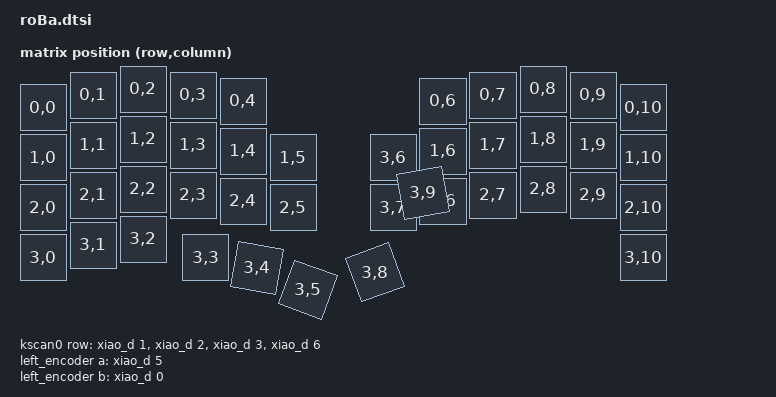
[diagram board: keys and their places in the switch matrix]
#include <dt-bindings/zmk/matrix_transform.h>
#include <physical_layouts.dtsi>

/ {
    chosen {
        zmk,physical-layout = &roba_physical_layout;
    };

    roba_physical_layout: roba_physical_layout {
        compatible = "zmk,physical-layout";
        display-name = "Default";
        transform = <&default_transform>;
        kscan = <&kscan0>;

        keys  //                     w   h    x    y     rot    rx    ry
            = <&key_physical_attrs 100 100    0   37       0     0     0>
            , <&key_physical_attrs 100 100  100   12       0     0     0>
            , <&key_physical_attrs 100 100  200    0       0     0     0>
            , <&key_physical_attrs 100 100  300   12       0     0     0>
            , <&key_physical_attrs 100 100  400   24       0     0     0>

            , <&key_physical_attrs 100 100  800   24       0     0     0>
            , <&key_physical_attrs 100 100  900   12       0     0     0>
            , <&key_physical_attrs 100 100 1000    0       0     0     0>
            , <&key_physical_attrs 100 100 1100   12       0     0     0>
            , <&key_physical_attrs 100 100 1200   37       0     0     0>

            , <&key_physical_attrs 100 100    0  137       0     0     0>
            , <&key_physical_attrs 100 100  100  112       0     0     0>
            , <&key_physical_attrs 100 100  200  100       0     0     0>
            , <&key_physical_attrs 100 100  300  112       0     0     0>
            , <&key_physical_attrs 100 100  400  124       0     0     0>
            , <&key_physical_attrs 100 100  500  137       0     0     0>

            , <&key_physical_attrs 100 100  700  137       0     0     0>
            , <&key_physical_attrs 100 100  800  124       0     0     0>
            , <&key_physical_attrs 100 100  900  112       0     0     0>
            , <&key_physical_attrs 100 100 1000  100       0     0     0>
            , <&key_physical_attrs 100 100 1100  112       0     0     0>
            , <&key_physical_attrs 100 100 1200  137       0     0     0>

            , <&key_physical_attrs 100 100    0  237       0     0     0>
            , <&key_physical_attrs 100 100  100  212       0     0     0>
            , <&key_physical_attrs 100 100  200  200       0     0     0>
            , <&key_physical_attrs 100 100  300  212       0     0     0>
            , <&key_physical_attrs 100 100  400  224       0     0     0>
            , <&key_physical_attrs 100 100  500  237       0     0     0>

            , <&key_physical_attrs 100 100  700  237       0     0     0>
            , <&key_physical_attrs 100 100  800  224       0     0     0>
            , <&key_physical_attrs 100 100  900  212       0     0     0>
            , <&key_physical_attrs 100 100 1000  200       0     0     0>
            , <&key_physical_attrs 100 100 1100  212       0     0     0>
            , <&key_physical_attrs 100 100 1200  237       0     0     0>

            , <&key_physical_attrs 100 100    0  337       0     0     0>
            , <&key_physical_attrs 100 100  100  312       0     0     0>
            , <&key_physical_attrs 100 100  200  300       0     0     0>
            , <&key_physical_attrs 100 100  325  337       0     0     0>
            , <&key_physical_attrs 100 100  437  350    1000   437   350>
            , <&key_physical_attrs 100 100  550  387    2000   550   387>



            , <&key_physical_attrs 100 100  650  387 (-2000)   650   387>
            , <&key_physical_attrs 100 100  763  350 (-1000)     0   350>

            , <&key_physical_attrs 100 100 1200  337       0     0     0>

            ;
    };

    default_transform: keymap_transform_0 {
        compatible = "zmk,matrix-transform";
        columns = <11>;
        rows = <4>;
        map = <
            RC(0,0) RC(0,1) RC(0,2) RC(0,3) RC(0,4)                     RC(0,6) RC(0,7) RC(0,8) RC(0,9) RC(0,10)
            RC(1,0) RC(1,1) RC(1,2) RC(1,3) RC(1,4) RC(1,5)     RC(3,6) RC(1,6) RC(1,7) RC(1,8) RC(1,9) RC(1,10)
            RC(2,0) RC(2,1) RC(2,2) RC(2,3) RC(2,4) RC(2,5)     RC(3,7) RC(2,6) RC(2,7) RC(2,8) RC(2,9) RC(2,10)
            RC(3,0) RC(3,1) RC(3,2) RC(3,3) RC(3,4) RC(3,5)     RC(3,8) RC(3,9)                         RC(3,10)
        >;
    };

    kscan0: kscan {
        compatible = "zmk,kscan-gpio-matrix";
        label = "KSCAN";
        diode-direction = "col2row";
            row-gpios
                = <&xiao_d 1 (GPIO_ACTIVE_HIGH | GPIO_PULL_DOWN)>
                , <&xiao_d 2 (GPIO_ACTIVE_HIGH | GPIO_PULL_DOWN)>
                , <&xiao_d 3 (GPIO_ACTIVE_HIGH | GPIO_PULL_DOWN)>
                , <&xiao_d 6 (GPIO_ACTIVE_HIGH | GPIO_PULL_DOWN)>
                ;
    };

    left_encoder: encoder_left {
        compatible = "alps,ec11";
        a-gpios = <&xiao_d 5 (GPIO_ACTIVE_HIGH | GPIO_PULL_UP)>;
        b-gpios = <&xiao_d 0 (GPIO_ACTIVE_HIGH | GPIO_PULL_UP)>;
        steps = <12>;
        status = "disabled";
    };

    right_encoder: encoder_right {
        status = "disabled";
    };

    sensors: sensors {
        compatible = "zmk,keymap-sensors";
        sensors = <&left_encoder &right_encoder>;
        triggers-per-rotation = <3>;
    };

    trackball_listener: trackball_listener {
        compatible = "zmk,input-listener";
        status = "disabled";
    };
};

&spi0 {
    status = "disabled";

    trackball: trackball@0 {
        status = "disabled";
        reg = <0>;
    };
};

// --- GUI(keymap-editor)に消されないカスタム定義 -----------------------------
// keymap-editor は hold-tap や one-param マクロを理解できず削除してしまうため、
// GUIが管理する config/roBa.keymap ではなく、ここ(roBa.dtsi)に定義する。
// keymap 側は参照(&shift_esc_eisu LEFT_SHIFT 0)だけ残せば解決される。
//
// 注意: keys.h は上の matrix transform で使う RC(row,col) マクロと衝突する
// (keys.h 内では RC = 右Ctrl で引数1個)。そのため RC 使用箇所より「後」、
// かつ #undef RC してから include することで衝突を避ける。
#undef RC
#include <dt-bindings/zmk/keys.h>

#ifndef MACRO_PLACEHOLDER
#define MACRO_PLACEHOLDER 0
#endif

#define MOUSE_LAYER 4

/ {
    macros {
        // MOUSEレイヤーを明示的にOFFにする。
        exit_aml: exit_aml {
            compatible = "zmk,behavior-macro";
            #binding-cells = <0>;
            wait-ms = <0>;
            tap-ms = <0>;
            bindings = <&tog_off MOUSE_LAYER>;
            label = "EXIT_AML";
        };

        // Mod-Tapのタップ側で、キー入力後にMOUSEレイヤーを解除する。
        kp_exit_aml: kp_exit_aml {
            compatible = "zmk,behavior-macro-one-param";
            #binding-cells = <1>;
            wait-ms = <0>;
            tap-ms = <0>;
            bindings = <&macro_param_1to1 &kp MACRO_PLACEHOLDER &exit_aml>;
            label = "KP_EXIT_AML";
        };

        // hold-tap のタップ側で使うマクロ: ESC → LANG2(英数) を送る。
        // one-param 形式(引数は未使用)。IME変換中に文字が消える場合は
        // ESC と LANG2 の順を入れ替えると改善することがある。
        eisu_esc: eisu_esc {
            compatible = "zmk,behavior-macro-one-param";
            #binding-cells = <1>;
            bindings = <&kp ESC &kp LANG2 &exit_aml>;
            label = "EISU_ESC";
        };
    };

    behaviors {
        // レイヤーをトグルせず、指定レイヤーを必ずOFFにする。
        tog_off: toggle_layer_off {
            compatible = "zmk,behavior-toggle-layer";
            #binding-cells = <1>;
            display-name = "Toggle Layer Off";
            toggle-mode = "off";
        };

        // ホールド時は修飾キーとしてAMLを維持し、タップ時だけAMLを解除する。
        mt_exit_aml_on_tap: mt_exit_aml_on_tap {
            compatible = "zmk,behavior-hold-tap";
            label = "MT_EXIT_AML_ON_TAP";
            #binding-cells = <2>;
            flavor = "balanced";
            tapping-term-ms = <200>;
            quick-tap-ms = <0>;
            bindings = <&kp>, <&kp_exit_aml>;
        };

        // 長押し = LEFT_SHIFT / タップ = ESC + LANG2(英数)
        // 旧 &mt LEFT_SHIFT ESCAPE の置き換え。&mt と違いタップ側にマクロを使える。
        // 使い方(keymap側): &shift_esc_eisu LEFT_SHIFT 0  (2番目の 0 はダミー)
        shift_esc_eisu: shift_esc_eisu {
            compatible = "zmk,behavior-hold-tap";
            label = "SHIFT_ESC_EISU";
            #binding-cells = <2>;
            flavor = "balanced";
            tapping-term-ms = <200>;
            quick-tap-ms = <0>;
            bindings = <&kp>, <&eisu_esc>;
        };
    };
};
